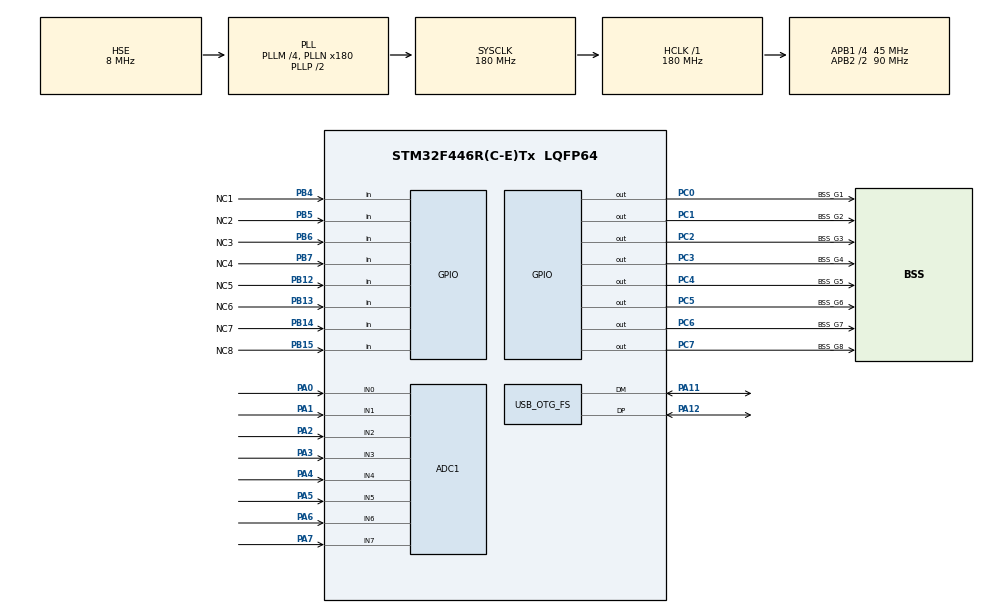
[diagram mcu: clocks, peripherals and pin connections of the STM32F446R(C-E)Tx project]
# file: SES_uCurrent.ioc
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Mcu.Family=STM32F4
FREERTOS.Queues01=myQueue01,16,uint16_t,0,Dynamic,NULL,NULL
USB_DEVICE.CLASS_NAME_FS=CDC
PH0-OSC_IN.Signal=RCC_OSC_IN
RCC.CortexFreq_Value=180000000
ADC1.ContinuousConvMode=ENABLE
SH.ADCx_IN2.0=ADC1_IN2,IN2
ADC1.SamplingTime-6\#ChannelRegularConversion=ADC_SAMPLETIME_28CYCLES
PB14.GPIO_Label=NC7
PC0.GPIO_Label=BSS_G1
PC6.GPIO_Label=BSS_G7
PA11.Mode=Device_Only
PB6.GPIO_Label=NC3
USB_DEVICE.VirtualMode-CDC_FS=Cdc
PC2.GPIO_Speed=GPIO_SPEED_FREQ_MEDIUM
PB13.GPIO_Label=NC6
PB13.Signal=GPIO_Input
PB15.Signal=GPIO_Input
PC3.GPIO_Speed=GPIO_SPEED_FREQ_MEDIUM
RCC.SYSCLKSource=RCC_SYSCLKSOURCE_PLLCLK
ProjectManager.StackSize=0x400
VP_FREERTOS_VS_CMSIS_V2.Mode=CMSIS_V2
PA12.Signal=USB_OTG_FS_DP
ADC1.Channel-5\#ChannelRegularConversion=ADC_CHANNEL_5
ADC1.Channel-3\#ChannelRegularConversion=ADC_CHANNEL_3
RCC.HCLKFreq_Value=180000000
SH.ADCx_IN3.0=ADC1_IN3,IN3
RCC.APB2TimFreq_Value=180000000
PB6.Signal=GPIO_Input
Dma.ADC1.0.Direction=DMA_PERIPH_TO_MEMORY
ADC1.Channel-2\#ChannelRegularConversion=ADC_CHANNEL_2
PC7.Signal=GPIO_Output
PC3.Signal=GPIO_Output
NVIC.DMA2_Stream0_IRQn=true\:5\:0\:false\:false\:true\:true\:false\:true
Dma.ADC1.0.MemDataAlignment=DMA_MDATAALIGN_WORD
RCC.AHBFreq_Value=180000000
PH0-OSC_IN.Mode=HSE-External-Oscillator
ADC1.Channel-0\#ChannelRegularConversion=ADC_CHANNEL_0
RCC.HSE_VALUE=8000000
ADC1.ScanConvMode=ENABLE
PB12.GPIO_Label=NC5
PC4.GPIO_Speed=GPIO_SPEED_FREQ_MEDIUM
ADC1.SamplingTime-4\#ChannelRegularConversion=ADC_SAMPLETIME_28CYCLES
ADC1.Channel-6\#ChannelRegularConversion=ADC_CHANNEL_6
ADC1.Rank-2\#ChannelRegularConversion=3
PC4.GPIO_Label=BSS_G5
PA14.Mode=Serial_Wire
VP_SYS_VS_tim1.Mode=TIM1
Dma.ADC1.0.PeriphInc=DMA_PINC_DISABLE
NVIC.TIM2_IRQn=true\:5\:0\:false\:false\:true\:true\:true\:true
PB7.Signal=GPIO_Input
SH.ADCx_IN0.0=ADC1_IN0,IN0
ADC1.SamplingTime-0\#ChannelRegularConversion=ADC_SAMPLETIME_28CYCLES
PH1-OSC_OUT.Mode=HSE-External-Oscillator
PB7.GPIO_Label=NC4
Mcu.Package=LQFP64
TIM2.Prescaler=9000-1
PA6.Signal=ADCx_IN6
FREERTOS.configUSE_NEWLIB_REENTRANT=1
NVIC.TimeBase=TIM1_UP_TIM10_IRQn
NVIC.OTG_FS_IRQn=true\:5\:0\:false\:false\:true\:true\:false\:true
NVIC.TimeBaseIP=TIM1
USB_OTG_FS.VirtualMode=Device_Only
RCC.PLLSAIN=96
RCC.PLLSAIM=4
RCC.PLLSAIP=RCC_PLLSAIP_DIV4
RCC.APB2CLKDivider=RCC_HCLK_DIV2
SH.ADCx_IN1.0=ADC1_IN1,IN1
PB5.GPIO_Label=NC2
RCC.APB1TimFreq_Value=90000000
Dma.ADC1.0.FIFOMode=DMA_FIFOMODE_DISABLE
PC5.Signal=GPIO_Output
ADC1.Rank-6\#ChannelRegularConversion=7
Dma.Request0=ADC1
PC6.GPIO_Speed=GPIO_SPEED_FREQ_MEDIUM
PC2.GPIO_Label=BSS_G3
ADC1.Rank-4\#ChannelRegularConversion=5
PB4.Signal=GPIO_Input
PA3.Signal=ADCx_IN3
Dma.ADC1.0.Instance=DMA2_Stream0
FREERTOS.Tasks01=mainTask,24,128,StartDefaultTask,Default,NULL,Dynamic,NULL,NULL
ADC1.Rank-0\#ChannelRegularConversion=1
ADC1.Channel-4\#ChannelRegularConversion=ADC_CHANNEL_4
USB_DEVICE.VirtualModeFS=Cdc_FS
SH.ADCx_IN6.0=ADC1_IN6,IN6
PC2.Signal=GPIO_Output
PC4.Signal=GPIO_Output
PC6.Signal=GPIO_Output
PC0.Signal=GPIO_Output
RCC.APB1CLKDivider=RCC_HCLK_DIV4
ADC1.SamplingTime-2\#ChannelRegularConversion=ADC_SAMPLETIME_28CYCLES
PA0-WKUP.Signal=ADCx_IN0
ADC1.Channel-7\#ChannelRegularConversion=ADC_CHANNEL_7
PA13.Signal=SYS_JTMS-SWDIO
Dma.ADC1.0.PeriphDataAlignment=DMA_PDATAALIGN_WORD
PC0.GPIO_Speed=GPIO_SPEED_FREQ_MEDIUM
ProjectManager.TargetToolchain=STM32CubeIDE
SH.ADCx_IN7.0=ADC1_IN7,IN7
Dma.ADC1.0.Mode=DMA_CIRCULAR
VP_USB_DEVICE_VS_USB_DEVICE_CDC_FS.Mode=CDC_FS
Dma.ADC1.0.Priority=DMA_PRIORITY_MEDIUM
ADC1.Channel-1\#ChannelRegularConversion=ADC_CHANNEL_1
RCC.USBFreq_Value=48000000
PA1.Signal=ADCx_IN1
PB14.Signal=GPIO_Input
RCC.USBCLockSelection=RCC_CLK48CLKSOURCE_PLLSAIP
PA5.Signal=ADCx_IN5
board=custom
PC7.GPIO_Speed=GPIO_SPEED_FREQ_MEDIUM
RCC.VCOOutputFreq_Value=360000000
RCC.APB2Freq_Value=90000000
PB4.GPIO_Label=NC1
PB15.GPIO_Label=NC8
VP_TIM2_VS_ClockSourceINT.Mode=Internal
PC1.GPIO_Label=BSS_G2
PH1-OSC_OUT.Signal=RCC_OSC_OUT
PC1.GPIO_Speed=GPIO_SPEED_FREQ_MEDIUM
SH.ADCx_IN4.0=ADC1_IN4,IN4
ADC1.DMAContinuousRequests=ENABLE
TIM2.Period=10000-1
ADC1.NbrOfConversion=8
PA13.Mode=Serial_Wire
Mcu.Name=STM32F446R(C-E)Tx
PA2.Signal=ADCx_IN2
PC7.GPIO_Label=BSS_G8
PA4.Signal=ADCx_IN4
ADC1.SamplingTime-1\#ChannelRegularConversion=ADC_SAMPLETIME_28CYCLES
RCC.SYSCLKFreq_VALUE=180000000
PB5.Signal=GPIO_Input
ADC1.master=1
PA12.Mode=Device_Only
ADC1.Rank-3\#ChannelRegularConversion=4
ADC1.SamplingTime-3\#ChannelRegularConversion=ADC_SAMPLETIME_28CYCLES
PC5.GPIO_Label=BSS_G6
ADC1.Rank-1\#ChannelRegularConversion=2
PA11.Signal=USB_OTG_FS_DM
PA14.Signal=SYS_JTCK-SWCLK
Dma.ADC1.0.MemInc=DMA_MINC_ENABLE
ProjectManager.HeapSize=0x200
ADC1.SamplingTime-5\#ChannelRegularConversion=ADC_SAMPLETIME_28CYCLES
NVIC.TIM1_UP_TIM10_IRQn=true\:0\:0\:false\:false\:true\:false\:false\:true
SH.ADCx_IN5.0=ADC1_IN5,IN5
ADC1.Rank-7\#ChannelRegularConversion=8
RCC.PLLQ=5
NVIC.PriorityGroup=NVIC_PRIORITYGROUP_4
ADC1.NbrOfConversionFlag=1
PC5.GPIO_Speed=GPIO_SPEED_FREQ_MEDIUM
RCC.PLLM=4
RCC.PLLN=180
TIM2.AutoReloadPreload=TIM_AUTORELOAD_PRELOAD_ENABLE
PC3.GPIO_Label=BSS_G4
ADC1.SamplingTime-7\#ChannelRegularConversion=ADC_SAMPLETIME_28CYCLES
RCC.APB1Freq_Value=45000000
ADC1.Rank-5\#ChannelRegularConversion=6
PC1.Signal=GPIO_Output
PB12.Signal=GPIO_Input
PA7.Signal=ADCx_IN7

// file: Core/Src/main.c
/* USER CODE BEGIN Header */
/**
  ******************************************************************************
  * @file           : main.c
  * @brief          : Main program body
  ******************************************************************************
  * @attention
  *
  * <h2><center>&copy; Copyright (c) 2022 STMicroelectronics.
  * All rights reserved.</center></h2>
  *
  * This software component is licensed by ST under BSD 3-Clause license,
  * the "License"; You may not use this file except in compliance with the
  * License. You may obtain a copy of the License at:
  *                        opensource.org/licenses/BSD-3-Clause
  *
  ******************************************************************************
  */
/* USER CODE END Header */
#include "main.h"
#include "cmsis_os.h"
#include "usb_device.h"

/* USER CODE BEGIN Includes */
#include "task.h"
#include "usbd_cdc_if.h"
#include "string.h"
#include "tasks.h"
#include "data_structures.h"
#include "initstructures.h"
/* USER CODE END Includes */

ADC_HandleTypeDef hadc1;
DMA_HandleTypeDef hdma_adc1;

TIM_HandleTypeDef htim2;

/* Definitions for mainTask */

/* Definitions for myQueue01 */
osMessageQueueId_t myQueue01Handle;
const osMessageQueueAttr_t myQueue01_attributes = {
  .name = "myQueue01"
};
/* USER CODE BEGIN PV */
osThreadId_t mainTaskHandle;
const osThreadAttr_t mainTask_attributes = {
  .name = "mainTask",
  .stack_size = 128 * 4,
  .priority = (osPriority_t) osPriorityNormal,
};

osThreadId_t readValuesHandle;
uint32_t readValuesBuffer[512];
StaticTask_t readValues_CB;
const osThreadAttr_t readValues_attributes = {
		.name = "readValues",
		.cb_mem = &readValues_CB,
		.cb_size = sizeof(readValues_CB),
		.stack_mem = &readValuesBuffer[0],
		.stack_size = sizeof(readValuesBuffer),
		.priority = (osPriority_t) osPriorityAboveNormal
};

osThreadId_t readFromUSBHandle;
uint32_t readFromUSBBuffer[128];
StaticTask_t readFromUSB_CB;
const osThreadAttr_t readFromUSB_attribiutes = {
		.name = "readFromUSB",
		.cb_mem = &readFromUSB_CB,
		.cb_size = sizeof(readFromUSB_CB),
		.stack_mem = &readFromUSBBuffer[0],
		.stack_size = sizeof(readFromUSBBuffer),
		.priority= (osPriority_t) osPriorityLow
};

osMessageQueueId_t outputValuessHanlde;
uint8_t outputDataQueueBuffer[40 *sizeof(Data_Q)];
StaticQueue_t outputDataQueueControlBlock;
const osMessageQueueAttr_t outputValuessHanlde_attributes = {
		.name = "outputDataQueue",
		.cb_mem = &outputDataQueueControlBlock,
		.cb_size = sizeof(outputDataQueueControlBlock),
		.mq_mem = &outputDataQueueBuffer,
		.mq_size = sizeof(outputDataQueueBuffer)
};

/* USER CODE END PV */

void SystemClock_Config(void);
static void MX_GPIO_Init(void);
static void MX_DMA_Init(void);
static void MX_ADC1_Init(void);
static void MX_TIM2_Init(void);
void StartDefaultTask(void *argument);

/* USER CODE BEGIN PFP */
extern __IO TestTimer timer;

/* USER CODE END PFP */

int main(void)
{

  /* MCU Configuration--------------------------------------------------------*/

  /* Reset of all peripherals, Initializes the Flash interface and the Systick. */
  HAL_Init();

  /* Configure the system clock */
  SystemClock_Config();

  /* Initialize all configured peripherals */
  MX_GPIO_Init();
  MX_DMA_Init();
  MX_ADC1_Init();
  MX_TIM2_Init();
  /* USER CODE BEGIN 2 */
  initTimer((TestTimer*)&timer);
  initTestControler(&mainControlers);
  /* USER CODE END 2 */

  /* Init scheduler */
  osKernelInitialize();

  /* USER CODE BEGIN RTOS_MUTEX */
  //MutexQ = xSemaphoreCreateMutex();
  /* USER CODE END RTOS_MUTEX */

  /* Create the queue(s) */
  /* creation of myQueue01 */
  //myQueue01Handle = osMessageQueueNew (16, sizeof(uint16_t), &myQueue01_attributes);

  /* USER CODE BEGIN RTOS_QUEUES */
  //outputValuessHanlde = xQueueCreate(50,100*sizeof(char));
  outputValuessHanlde = osMessageQueueNew(40, sizeof(Data_Q), &outputValuessHanlde_attributes);

  /* USER CODE END RTOS_QUEUES */

  /* Create the thread(s) */
  /* creation of mainTask */
  //mainTaskHandle = osThreadNew(StartDefaultTask, NULL, &mainTask_attributes);

  /* USER CODE BEGIN RTOS_THREADS */

  mainTaskHandle = osThreadNew(m_mainTask, NULL, &mainTask_attributes);
  readValuesHandle = osThreadNew(m_readValues, NULL, &readValues_attributes);
  readFromUSBHandle = osThreadNew(m_readFromUSB, NULL, &readFromUSB_attribiutes);
  /*

   osThreadDef(readValues,m_readValues,osPriorityHigh,0,128);
  readValuesHandle = osThreadCreate(&os_thread_def_readValues, NULL);

  osThreadDef(readFromUSB,m_readFromUSB,osPriorityBelowNormal,0,128);
  readFromUSBHandle = osThreadCreate(&os_thread_def_readFromUSB, NULL);
  */
  /* USER CODE END RTOS_THREADS */

  /* Start scheduler */
  osKernelStart();

  /* We should never get here as control is now taken by the scheduler */
  /* Infinite loop */
  while (1)
  {

  }
}

void SystemClock_Config(void)
{
  RCC_OscInitTypeDef RCC_OscInitStruct = {0};
  RCC_ClkInitTypeDef RCC_ClkInitStruct = {0};
  RCC_PeriphCLKInitTypeDef PeriphClkInitStruct = {0};

  /** Configure the main internal regulator output voltage
  */
  __HAL_RCC_PWR_CLK_ENABLE();
  __HAL_PWR_VOLTAGESCALING_CONFIG(PWR_REGULATOR_VOLTAGE_SCALE1);
  /** Initializes the RCC Oscillators according to the specified parameters
  * in the RCC_OscInitTypeDef structure.
  */
  RCC_OscInitStruct.OscillatorType = RCC_OSCILLATORTYPE_HSE;
  RCC_OscInitStruct.HSEState = RCC_HSE_ON;
  RCC_OscInitStruct.PLL.PLLState = RCC_PLL_ON;
  RCC_OscInitStruct.PLL.PLLSource = RCC_PLLSOURCE_HSE;
  RCC_OscInitStruct.PLL.PLLM = 4;
  RCC_OscInitStruct.PLL.PLLN = 180;
  RCC_OscInitStruct.PLL.PLLP = RCC_PLLP_DIV2;
  RCC_OscInitStruct.PLL.PLLQ = 5;
  RCC_OscInitStruct.PLL.PLLR = 2;
  if (HAL_RCC_OscConfig(&RCC_OscInitStruct) != HAL_OK)
  {
    Error_Handler();
  }
  /** Activate the Over-Drive mode
  */
  if (HAL_PWREx_EnableOverDrive() != HAL_OK)
  {
    Error_Handler();
  }
  /** Initializes the CPU, AHB and APB buses clocks
  */
  RCC_ClkInitStruct.ClockType = RCC_CLOCKTYPE_HCLK|RCC_CLOCKTYPE_SYSCLK
                              |RCC_CLOCKTYPE_PCLK1|RCC_CLOCKTYPE_PCLK2;
  RCC_ClkInitStruct.SYSCLKSource = RCC_SYSCLKSOURCE_PLLCLK;
  RCC_ClkInitStruct.AHBCLKDivider = RCC_SYSCLK_DIV1;
  RCC_ClkInitStruct.APB1CLKDivider = RCC_HCLK_DIV4;
  RCC_ClkInitStruct.APB2CLKDivider = RCC_HCLK_DIV2;

  if (HAL_RCC_ClockConfig(&RCC_ClkInitStruct, FLASH_LATENCY_5) != HAL_OK)
  {
    Error_Handler();
  }
  PeriphClkInitStruct.PeriphClockSelection = RCC_PERIPHCLK_CLK48;
  PeriphClkInitStruct.PLLSAI.PLLSAIM = 4;
  PeriphClkInitStruct.PLLSAI.PLLSAIN = 96;
  PeriphClkInitStruct.PLLSAI.PLLSAIQ = 2;
  PeriphClkInitStruct.PLLSAI.PLLSAIP = RCC_PLLSAIP_DIV4;
  PeriphClkInitStruct.PLLSAIDivQ = 1;
  PeriphClkInitStruct.Clk48ClockSelection = RCC_CLK48CLKSOURCE_PLLSAIP;
  if (HAL_RCCEx_PeriphCLKConfig(&PeriphClkInitStruct) != HAL_OK)
  {
    Error_Handler();
  }
}

static void MX_ADC1_Init(void)
{

  ADC_ChannelConfTypeDef sConfig = {0};

  /** Configure the global features of the ADC (Clock, Resolution, Data Alignment and number of conversion)
  */
  hadc1.Instance = ADC1;
  hadc1.Init.ClockPrescaler = ADC_CLOCK_SYNC_PCLK_DIV4;
  hadc1.Init.Resolution = ADC_RESOLUTION_12B;
  hadc1.Init.ScanConvMode = ENABLE;
  hadc1.Init.ContinuousConvMode = ENABLE;
  hadc1.Init.DiscontinuousConvMode = DISABLE;
  hadc1.Init.ExternalTrigConvEdge = ADC_EXTERNALTRIGCONVEDGE_NONE;
  hadc1.Init.ExternalTrigConv = ADC_SOFTWARE_START;
  hadc1.Init.DataAlign = ADC_DATAALIGN_RIGHT;
  hadc1.Init.NbrOfConversion = 8;
  hadc1.Init.DMAContinuousRequests = ENABLE;
  hadc1.Init.EOCSelection = ADC_EOC_SINGLE_CONV;
  if (HAL_ADC_Init(&hadc1) != HAL_OK)
  {
    Error_Handler();
  }
  /** Configure for the selected ADC regular channel its corresponding rank in the sequencer and its sample time.
  */
  sConfig.Channel = ADC_CHANNEL_0;
  sConfig.Rank = 1;
  sConfig.SamplingTime = ADC_SAMPLETIME_28CYCLES;
  if (HAL_ADC_ConfigChannel(&hadc1, &sConfig) != HAL_OK)
  {
    Error_Handler();
  }
  /** Configure for the selected ADC regular channel its corresponding rank in the sequencer and its sample time.
  */
  sConfig.Channel = ADC_CHANNEL_1;
  sConfig.Rank = 2;
  if (HAL_ADC_ConfigChannel(&hadc1, &sConfig) != HAL_OK)
  {
    Error_Handler();
  }
  /** Configure for the selected ADC regular channel its corresponding rank in the sequencer and its sample time.
  */
  sConfig.Channel = ADC_CHANNEL_2;
  sConfig.Rank = 3;
  if (HAL_ADC_ConfigChannel(&hadc1, &sConfig) != HAL_OK)
  {
    Error_Handler();
  }
  /** Configure for the selected ADC regular channel its corresponding rank in the sequencer and its sample time.
  */
  sConfig.Channel = ADC_CHANNEL_3;
  sConfig.Rank = 4;
  if (HAL_ADC_ConfigChannel(&hadc1, &sConfig) != HAL_OK)
  {
    Error_Handler();
  }
  /** Configure for the selected ADC regular channel its corresponding rank in the sequencer and its sample time.
  */
  sConfig.Channel = ADC_CHANNEL_4;
  sConfig.Rank = 5;
  if (HAL_ADC_ConfigChannel(&hadc1, &sConfig) != HAL_OK)
  {
    Error_Handler();
  }
  /** Configure for the selected ADC regular channel its corresponding rank in the sequencer and its sample time.
  */
  sConfig.Channel = ADC_CHANNEL_5;
  sConfig.Rank = 6;
  if (HAL_ADC_ConfigChannel(&hadc1, &sConfig) != HAL_OK)
  {
    Error_Handler();
  }
  /** Configure for the selected ADC regular channel its corresponding rank in the sequencer and its sample time.
  */
  sConfig.Channel = ADC_CHANNEL_6;
  sConfig.Rank = 7;
  if (HAL_ADC_ConfigChannel(&hadc1, &sConfig) != HAL_OK)
  {
    Error_Handler();
  }
  /** Configure for the selected ADC regular channel its corresponding rank in the sequencer and its sample time.
  */
  sConfig.Channel = ADC_CHANNEL_7;
  sConfig.Rank = 8;
  if (HAL_ADC_ConfigChannel(&hadc1, &sConfig) != HAL_OK)
  {
    Error_Handler();
  }

}

static void MX_TIM2_Init(void)
{

  TIM_ClockConfigTypeDef sClockSourceConfig = {0};
  TIM_MasterConfigTypeDef sMasterConfig = {0};

  htim2.Instance = TIM2;
  htim2.Init.Prescaler = 9000-1;
  htim2.Init.CounterMode = TIM_COUNTERMODE_UP;
  htim2.Init.Period = 10000-1;
  htim2.Init.ClockDivision = TIM_CLOCKDIVISION_DIV1;
  htim2.Init.AutoReloadPreload = TIM_AUTORELOAD_PRELOAD_ENABLE;
  if (HAL_TIM_Base_Init(&htim2) != HAL_OK)
  {
    Error_Handler();
  }
  sClockSourceConfig.ClockSource = TIM_CLOCKSOURCE_INTERNAL;
  if (HAL_TIM_ConfigClockSource(&htim2, &sClockSourceConfig) != HAL_OK)
  {
    Error_Handler();
  }
  sMasterConfig.MasterOutputTrigger = TIM_TRGO_RESET;
  sMasterConfig.MasterSlaveMode = TIM_MASTERSLAVEMODE_DISABLE;
  if (HAL_TIMEx_MasterConfigSynchronization(&htim2, &sMasterConfig) != HAL_OK)
  {
    Error_Handler();
  }

}

static void MX_DMA_Init(void)
{

  /* DMA controller clock enable */
  __HAL_RCC_DMA2_CLK_ENABLE();

  /* DMA interrupt init */
  /* DMA2_Stream0_IRQn interrupt configuration */
  HAL_NVIC_SetPriority(DMA2_Stream0_IRQn, 5, 0);
  HAL_NVIC_EnableIRQ(DMA2_Stream0_IRQn);

}

static void MX_GPIO_Init(void)
{
  GPIO_InitTypeDef GPIO_InitStruct = {0};

  /* GPIO Ports Clock Enable */
  __HAL_RCC_GPIOH_CLK_ENABLE();
  __HAL_RCC_GPIOC_CLK_ENABLE();
  __HAL_RCC_GPIOA_CLK_ENABLE();
  __HAL_RCC_GPIOB_CLK_ENABLE();

  /*Configure GPIO pin Output Level */
  HAL_GPIO_WritePin(GPIOC, BSS_G1_Pin|BSS_G2_Pin|BSS_G3_Pin|BSS_G4_Pin
                          |BSS_G5_Pin|BSS_G6_Pin|BSS_G7_Pin|BSS_G8_Pin, GPIO_PIN_RESET);

  /*Configure GPIO pins : BSS_G1_Pin BSS_G2_Pin BSS_G3_Pin BSS_G4_Pin
                           BSS_G5_Pin BSS_G6_Pin BSS_G7_Pin BSS_G8_Pin */
  GPIO_InitStruct.Pin = BSS_G1_Pin|BSS_G2_Pin|BSS_G3_Pin|BSS_G4_Pin
                          |BSS_G5_Pin|BSS_G6_Pin|BSS_G7_Pin|BSS_G8_Pin;
  GPIO_InitStruct.Mode = GPIO_MODE_OUTPUT_PP;
  GPIO_InitStruct.Pull = GPIO_NOPULL;
  GPIO_InitStruct.Speed = GPIO_SPEED_FREQ_MEDIUM;
  HAL_GPIO_Init(GPIOC, &GPIO_InitStruct);

  /*Configure GPIO pins : NC5_Pin NC6_Pin NC7_Pin NC8_Pin
                           NC1_Pin NC2_Pin NC3_Pin NC4_Pin */
  GPIO_InitStruct.Pin = NC5_Pin|NC6_Pin|NC7_Pin|NC8_Pin
                          |NC1_Pin|NC2_Pin|NC3_Pin|NC4_Pin;
  GPIO_InitStruct.Mode = GPIO_MODE_INPUT;
  GPIO_InitStruct.Pull = GPIO_NOPULL;
  HAL_GPIO_Init(GPIOB, &GPIO_InitStruct);

}

void StartDefaultTask(void *argument)
{
  /* init code for USB_DEVICE */
  MX_USB_DEVICE_Init();
  for(;;)
  {
    osDelay(1);
  }
}

 /**
  * @brief  Period elapsed callback in non blocking mode
  * @note   This function is called  when TIM1 interrupt took place, inside
  * HAL_TIM_IRQHandler(). It makes a direct call to HAL_IncTick() to increment
  * a global variable "uwTick" used as application time base.
  * @param  htim : TIM handle
  * @retval None
  */
void HAL_TIM_PeriodElapsedCallback(TIM_HandleTypeDef *htim)
{
  if (htim->Instance == TIM1) {
    HAL_IncTick();
  }
  /* USER CODE BEGIN Callback 1 */
  else if(htim->Instance == TIM2){
	  timer.step++;
	  if(timer.step == timer.maxstep)
	  {
		  timer.step = 0;
	  }
  }
  /* USER CODE END Callback 1 */
}

void Error_Handler(void)
{
  __disable_irq();
  while (1)
  {
  }
}

/************************ (C) COPYRIGHT STMicroelectronics *****END OF FILE****/
